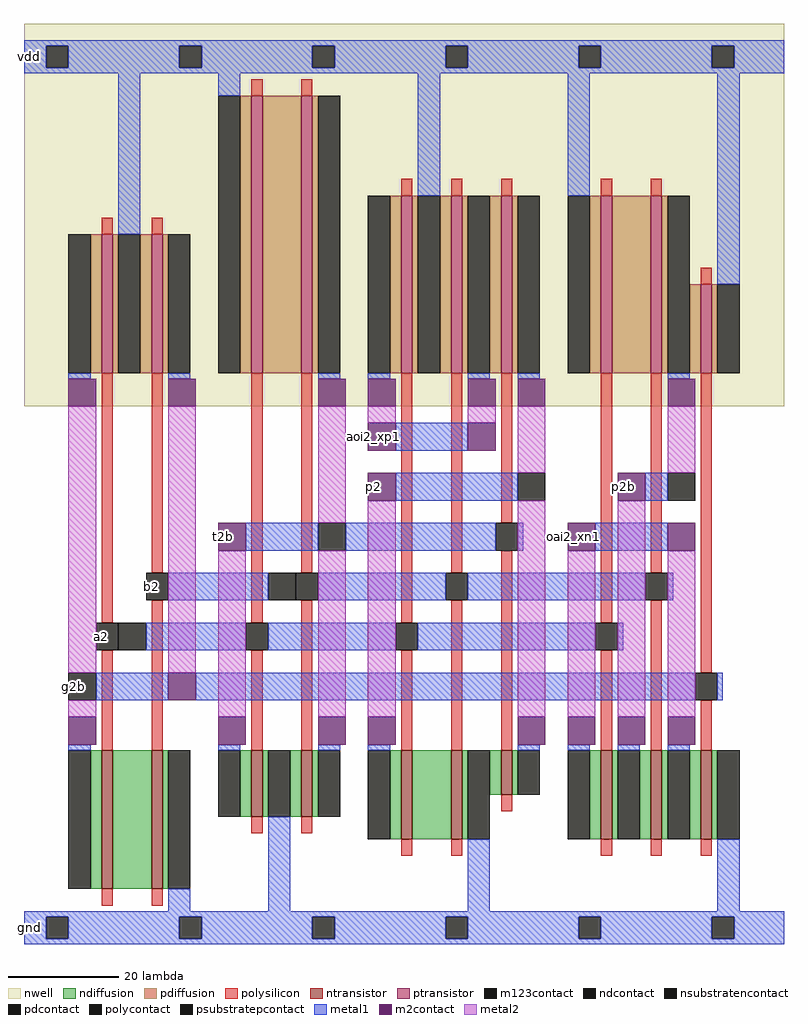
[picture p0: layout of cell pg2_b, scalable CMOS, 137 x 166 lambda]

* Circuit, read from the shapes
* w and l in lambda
.subckt pg2_b a2 b2 g2b p2 p2b t2b vdd gnd
M1 n1 a2 g2b gnd nfet w=25 l=2
M2 gnd b2 n1 gnd nfet w=25 l=2
M3 gnd a2 t2b gnd nfet w=12 l=2
M4 t2b b2 gnd gnd nfet w=12 l=2
M5 n2 a2 p2 gnd nfet w=16 l=2
M6 gnd b2 n2 gnd nfet w=16 l=2
M7 p2 t2b gnd gnd nfet w=8 l=2
M8 p2b a2 oai2_xn1 gnd nfet w=16 l=2
M9 oai2_xn1 b2 p2b gnd nfet w=16 l=2
M10 gnd g2b oai2_xn1 gnd nfet w=16 l=2
M11 vdd a2 g2b vdd pfet w=25 l=2
M12 g2b b2 vdd vdd pfet w=25 l=2
M13 n3 a2 vdd vdd pfet w=50 l=2
M14 t2b b2 n3 vdd pfet w=50 l=2
M15 vdd a2 aoi2_xp1 vdd pfet w=32 l=2
M16 aoi2_xp1 b2 vdd vdd pfet w=32 l=2
M17 p2 t2b aoi2_xp1 vdd pfet w=32 l=2
M18 n4 a2 vdd vdd pfet w=32 l=2
M19 p2b b2 n4 vdd pfet w=32 l=2
M20 vdd g2b p2b vdd pfet w=16 l=2
.ends

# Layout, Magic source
magic
tech scmos
<< nwell >>
rect 0 97 137 166
<< ntransistor >>
rect 14 10 16 35
rect 23 10 25 35
rect 41 23 43 35
rect 50 23 52 35
rect 68 19 70 35
rect 77 19 79 35
rect 86 27 88 35
rect 104 19 106 35
rect 113 19 115 35
rect 122 19 124 35
<< ptransistor >>
rect 14 103 16 128
rect 23 103 25 128
rect 41 103 43 153
rect 50 103 52 153
rect 68 103 70 135
rect 77 103 79 135
rect 86 103 88 135
rect 104 103 106 135
rect 113 103 115 135
rect 122 103 124 119
<< ndiffusion >>
rect 12 10 14 35
rect 16 10 23 35
rect 25 10 26 35
rect 39 23 41 35
rect 43 23 44 35
rect 48 23 50 35
rect 52 23 53 35
rect 66 19 68 35
rect 70 19 77 35
rect 79 19 80 35
rect 84 27 86 35
rect 88 27 89 35
rect 102 19 104 35
rect 106 19 107 35
rect 111 19 113 35
rect 115 19 116 35
rect 120 19 122 35
rect 124 19 125 35
<< pdiffusion >>
rect 12 103 14 128
rect 16 103 17 128
rect 21 103 23 128
rect 25 103 26 128
rect 39 103 41 153
rect 43 103 50 153
rect 52 103 53 153
rect 66 103 68 135
rect 70 103 71 135
rect 75 103 77 135
rect 79 103 80 135
rect 84 103 86 135
rect 88 103 89 135
rect 102 103 104 135
rect 106 103 113 135
rect 115 103 116 135
rect 120 103 122 119
rect 124 103 125 119
<< ndcontact >>
rect 8 10 12 35
rect 26 10 30 35
rect 35 23 39 35
rect 44 23 48 35
rect 53 23 57 35
rect 62 19 66 35
rect 80 19 84 35
rect 89 27 93 35
rect 98 19 102 35
rect 107 19 111 35
rect 116 19 120 35
rect 125 19 129 35
<< pdcontact >>
rect 8 103 12 128
rect 17 103 21 128
rect 26 103 30 128
rect 35 103 39 153
rect 53 103 57 153
rect 62 103 66 135
rect 71 103 75 135
rect 80 103 84 135
rect 89 103 93 135
rect 98 103 102 135
rect 116 103 120 135
rect 125 103 129 119
<< psubstratepcontact >>
rect 4 1 8 5
rect 28 1 32 5
rect 52 1 56 5
rect 76 1 80 5
rect 100 1 104 5
rect 124 1 128 5
<< nsubstratencontact >>
rect 4 158 8 162
rect 28 158 32 162
rect 52 158 56 162
rect 76 158 80 162
rect 100 158 104 162
rect 124 158 128 162
<< polysilicon >>
rect 41 153 43 156
rect 50 153 52 156
rect 14 128 16 131
rect 23 128 25 131
rect 68 135 70 138
rect 77 135 79 138
rect 86 135 88 138
rect 104 135 106 138
rect 113 135 115 138
rect 122 119 124 122
rect 14 58 16 103
rect 23 67 25 103
rect 14 35 16 53
rect 23 35 25 62
rect 41 58 43 103
rect 50 67 52 103
rect 41 35 43 53
rect 50 35 52 62
rect 68 58 70 103
rect 77 67 79 103
rect 86 76 88 103
rect 68 35 70 53
rect 77 35 79 62
rect 86 35 88 71
rect 104 58 106 103
rect 113 67 115 103
rect 104 35 106 53
rect 113 35 115 62
rect 122 49 124 103
rect 122 35 124 44
rect 41 20 43 23
rect 50 20 52 23
rect 86 24 88 27
rect 68 16 70 19
rect 77 16 79 19
rect 104 16 106 19
rect 113 16 115 19
rect 122 16 124 19
rect 14 7 16 10
rect 23 7 25 10
<< polycontact >>
rect 22 62 26 67
rect 13 53 17 58
rect 49 62 53 67
rect 40 53 44 58
rect 85 71 89 76
rect 76 62 80 67
rect 67 53 71 58
rect 112 62 116 67
rect 103 53 107 58
rect 121 44 125 49
<< metal1 >>
rect 0 162 137 163
rect 0 158 4 162
rect 8 158 28 162
rect 32 158 52 162
rect 56 158 76 162
rect 80 158 100 162
rect 104 158 124 162
rect 128 158 137 162
rect 0 157 137 158
rect 17 128 21 157
rect 35 153 39 157
rect 71 135 75 157
rect 98 135 102 157
rect 8 102 12 103
rect 26 102 30 103
rect 53 102 57 103
rect 62 102 66 103
rect 80 102 84 103
rect 125 119 129 157
rect 89 102 93 103
rect 116 102 120 103
rect 67 89 80 94
rect 67 80 89 85
rect 112 80 116 85
rect 40 71 53 76
rect 58 71 85 76
rect 89 71 90 76
rect 103 71 116 76
rect 26 62 44 67
rect 53 62 76 67
rect 80 62 112 67
rect 116 62 117 67
rect 22 53 40 58
rect 44 53 67 58
rect 71 53 103 58
rect 107 53 108 58
rect 13 44 26 49
rect 31 44 121 49
rect 125 44 126 49
rect 8 35 12 36
rect 35 35 39 36
rect 53 35 57 36
rect 62 35 66 36
rect 89 35 93 36
rect 26 6 30 10
rect 44 6 48 23
rect 98 35 102 36
rect 107 35 111 36
rect 116 35 120 36
rect 80 6 84 19
rect 125 6 129 19
rect 0 5 137 6
rect 0 1 4 5
rect 8 1 28 5
rect 32 1 52 5
rect 56 1 76 5
rect 80 1 100 5
rect 104 1 124 5
rect 128 1 137 5
rect 0 0 137 1
<< m2contact >>
rect 8 97 13 102
rect 26 97 31 102
rect 53 97 58 102
rect 62 97 67 102
rect 80 97 85 102
rect 89 97 94 102
rect 116 97 121 102
rect 62 89 67 94
rect 80 89 85 94
rect 62 80 67 85
rect 107 80 112 85
rect 35 71 40 76
rect 98 71 103 76
rect 116 71 121 76
rect 26 44 31 49
rect 8 36 13 41
rect 35 36 40 41
rect 53 36 58 41
rect 62 36 67 41
rect 89 36 94 41
rect 98 36 103 41
rect 107 36 112 41
rect 116 36 121 41
<< metal2 >>
rect 8 49 13 97
rect 26 49 31 97
rect 53 76 58 97
rect 62 94 67 97
rect 80 94 85 97
rect 89 85 94 97
rect 116 85 121 97
rect 8 41 13 44
rect 35 41 40 71
rect 53 41 58 71
rect 62 41 67 80
rect 89 41 94 80
rect 98 41 103 71
rect 107 41 112 80
rect 116 41 121 71
<< m123contact >>
rect 17 53 22 58
rect 8 44 13 49
rect 53 71 58 76
rect 44 62 49 67
rect 89 80 94 85
rect 116 80 121 85
<< labels >>
rlabel metal1 13 53 15 58 0 a2
port 1 nsew
rlabel metal1 22 62 24 67 0 b2
port 2 nsew
rlabel metal1 8 44 10 49 0 g2b
port 3 nsew
rlabel m2contact 62 80 64 85 0 p2
port 4 nsew
rlabel m2contact 107 80 109 85 0 p2b
port 5 nsew
rlabel m2contact 35 71 37 76 0 t2b
port 6 nsew
rlabel m2contact 62 89 64 94 0 aoi2_xp1
rlabel m2contact 98 71 100 76 0 oai2_xn1
rlabel metal1 0 157 2 163 0 vdd
port 7 nsew
rlabel metal1 0 0 2 6 0 gnd
port 8 nsew
<< end >>
